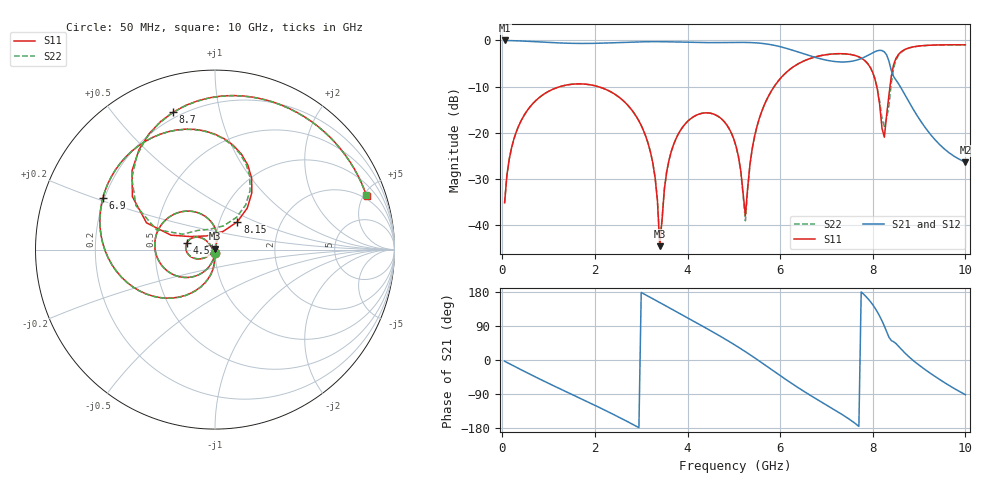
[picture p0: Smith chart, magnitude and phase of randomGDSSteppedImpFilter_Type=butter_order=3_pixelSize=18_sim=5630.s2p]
! freq	dB(S11)	phase(S11)	dB(S12)	phase(S12)
!  dB(S21)	phase(S21)	dB(S22)	phase(S22)
!S-par simulation data
#  GHz  S  DB  R 50
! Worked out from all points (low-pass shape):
!   200 points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, 50 MHz to 10 GHz, reference 50 ohm
!   highest |S21| = -0.01 dB at 50 MHz (marker M1); lowest = -26.4 dB at 10 GHz (marker M2)
!   |S21| within 3 dB of the highest: start of sweep to 6.54 GHz; 7.94 GHz to 8.289 GHz (349.7 MHz wide, 4.31 % of centre)
!   lowest |S11| = -44.6 dB at 3.4 GHz (marker M3), VSWR 1.01, Z = 49.7 + j0.525 ohm
!   |S11| at or under -10 dB: start of sweep to 1.252 GHz; 2.064 GHz to 5.872 GHz (3.808 GHz wide, 96 % of centre); 8.085 GHz to 8.372 GHz (287.4 MHz wide, 3.49 % of centre)
!   |S22| runs from -43.7 to -0.9 dB; largest |S21 - S12| = 0
!   S11 on the Smith chart (normalised r, x): 50 MHz: 1.00, -0.03; 4.5 GHz: 0.72, +0.05; 6.9 GHz: 0.19, +0.21; 8.15 GHz: 1.22, +0.39; 8.7 GHz: 0.17, +0.73; 10 GHz: 1.75, +5.29
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0.05  -35.22 -93.0  -0.01 -3.2  -0.01 -3.2  -35.22 -93.0
0.2  -23.30 -102.9  -0.04 -12.7  -0.04 -12.7  -23.30 -102.9
0.5  -15.78 -121.9  -0.16 -31.5  -0.16 -31.5  -15.78 -121.9
1.75  -9.45 164.5  -0.66 -105.1  -0.66 -105.1  -9.45 164.5
3  -18.45 89.9  -0.30 178.2  -0.30 178.2  -18.45 90.1
3.3  -29.78 76.1  -0.27 158.3  -0.27 158.3  -29.75 77.4
3.4  -44.63 115.9  -0.27 151.6  -0.27 151.6  -43.69 119.9
3.7  -22.57 -141.8  -0.32 131.4  -0.32 131.4  -22.56 -142.6
4.5  -15.80 167.7  -0.47 77.2  -0.47 77.2  -15.80 167.1
5.05  -23.05 134.6  -0.43 37.5  -0.43 37.5  -23.07 133.4
5.25  -37.99 -153.4  -0.43 21.9  -0.43 21.9  -39.11 -152.9
5.4  -23.28 -93.0  -0.48 9.8  -0.48 9.8  -23.32 -91.7
5.65  -14.18 -107.2  -0.69 -11.2  -0.69 -11.2  -14.19 -106.8
6.7  -3.75 169.8  -3.51 -96.9  -3.51 -96.9  -3.75 170.0
6.9  -3.25 155.3  -4.06 -111.5  -4.06 -111.5  -3.25 155.5
7.65  -3.37 99.3  -4.28 -170.2  -4.28 -170.2  -3.37 99.7
8.15  -14.01 51.2  -2.14 115.5  -2.14 115.5  -13.35 56.3
8.25  -20.99 121.4  -2.48 89.5  -2.48 89.5  -18.64 104.7
8.35  -11.76 161.9  -4.52 60.0  -4.52 60.0  -14.02 154.4
8.5  -3.90 136.4  -8.58 43.6  -8.58 43.6  -4.27 139.3
8.7  -1.93 106.9  -11.89 17.8  -11.89 17.8  -2.00 108.2
10  -0.95 19.4  -26.40 -91.6  -26.40 -91.6  -0.96 19.8
